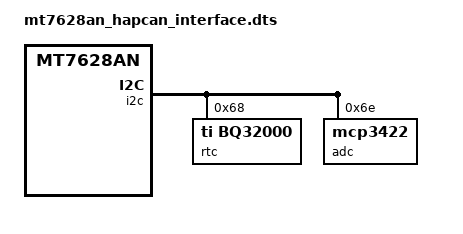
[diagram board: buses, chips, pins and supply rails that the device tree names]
#include "mt7628an_hilink_hlk-7628n.dts"

&{/} {
	compatible = "hapcan,interface";
	model = "HAPCAN Ethernet Interface";
};

&state_default {
	// Override GPIO assignment from the mt7628an_hilink_hlk-7628n.dts
	/delete-node/ gpio;

	// I2C assignment is done by the i2c-mt7621 kernel module at boot
};

&i2c {
	status = "okay";

	rtc@68 {
		// linux/drivers/rtc/rtc-bq32k.c
		compatible = "ti,bq32000";
		reg = <0x68>;
	};

	adc@6e {
		// linux/drivers/iio/adc/mcp3422.c
	    compatible = "mcp3422";
	    reg = <0x6E>;
	};

};
